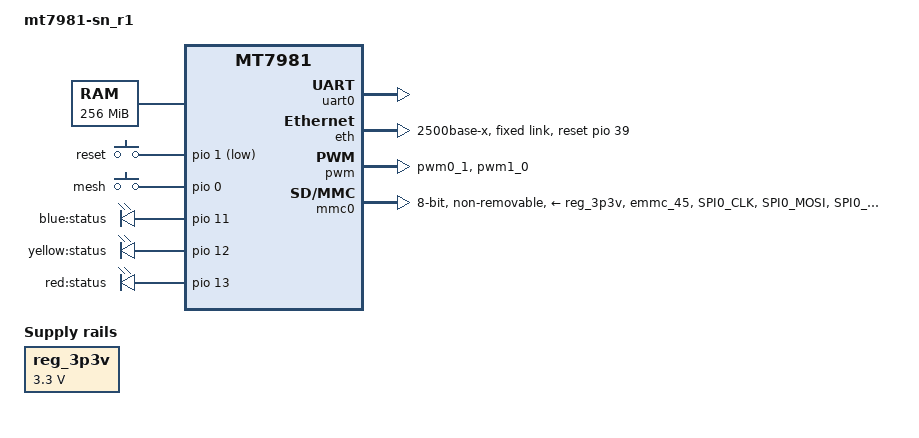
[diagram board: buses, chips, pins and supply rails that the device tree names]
// SPDX-License-Identifier: GPL-2.0

/dts-v1/;
#include "mt7981.dtsi"
#include <dt-bindings/gpio/gpio.h>
#include <dt-bindings/input/linux-event-codes.h>

/ {
	#address-cells = <1>;
	#size-cells = <1>;
	model = "mt7981-sn_r1";
	compatible = "mediatek,mt7981", "mediatek,mt7981-rfb";
	chosen {
		stdout-path = &uart0;
		tick-timer = &timer0;
	};

	config {
		bootcmd = "mtkboardboot";
		blink_led = "yellow:status";
		system_led = "blue:status";
	};

	memory@40000000 {
		device_type = "memory";
		reg = <0x40000000 0x10000000>;
	};

	gpio-keys {
		compatible = "gpio-keys";

		reset-button {
			label = "reset";
			linux,code = <KEY_RESTART>;
			gpios = <&pio 1 GPIO_ACTIVE_LOW>;
		};

		mesh-button {
			label = "mesh";
			linux,code = <BTN_9>;
			gpios = <&pio 0 GPIO_ACTIVE_HIGH>;
		};
	};

	gpio-leds {
		compatible = "gpio-leds";

		led-0 {
			label = "blue:status";
			gpios = <&pio 11 GPIO_ACTIVE_HIGH>;
		};

		led-1 {
			label = "yellow:status";
			gpios = <&pio 12 GPIO_ACTIVE_HIGH>;
		};

		led-2 {
			label = "red:status";
			gpios = <&pio 13 GPIO_ACTIVE_HIGH>;
		};
	};

	reg_3p3v: regulator-3p3v {
		  compatible = "regulator-fixed";
		  regulator-name = "fixed-3.3V";
		  regulator-min-microvolt = <3300000>;
		  regulator-max-microvolt = <3300000>;
		  regulator-boot-on;
		  regulator-always-on;
	};

	bl2_verify {
		bl2_compatible = "emmc";
	};
};

&uart0 {
	status = "okay";
};

&uart1 {
	pinctrl-names = "default";
	pinctrl-0 = <&uart1_pins>;
	status = "disabled";
};

&eth {
	status = "okay";
	mediatek,gmac-id = <0>;
	phy-mode = "2500base-x";
	mediatek,switch = "auto";
	reset-gpios = <&pio 39 GPIO_ACTIVE_HIGH>;

	fixed-link {
		speed = <2500>;
		full-duplex;
	};
};

&pio {
	uart1_pins: spi1-pins-func-3 {
		mux {
			function = "uart";
			groups = "uart1_2";
		};
	};

	/* pin15 as pwm0 */
	one_pwm_pins: one-pwm-pins {
		mux {
			function = "pwm";
			groups = "pwm0_1";
		};
	};

	/* pin15 as pwm0 and pin14 as pwm1 */
	two_pwm_pins: two-pwm-pins {
		mux {
			function = "pwm";
			groups = "pwm0_1", "pwm1_0";
		};
	};

	/* pin15 as pwm0, pin14 as pwm1, pin7 as pwm2 */
	three_pwm_pins: three-pwm-pins {
		mux {
			function = "pwm";
			groups = "pwm0_1", "pwm1_0", "pwm2";
		};
	};

	/* pin13 as pwm0, pin15 as pwm1, pin7 as pwm2 */
	three_pwm_pins_1: three-pwm-pins {
		mux {
			function = "pwm";
			groups = "pwm0_0", "pwm1_1", "pwm2";
		};
	};

	mmc0_pins_default: mmc0default {
		mux {
			function = "flash";
			groups =  "emmc_45";
		};
		conf-cmd-dat {
			pins = "SPI0_CLK", "SPI0_MOSI", "SPI0_MISO",
				"SPI0_CS",  "SPI0_HOLD", "SPI0_WP",
				"SPI1_CLK", "SPI1_MOSI", "SPI1_MISO";
			input-enable;
			drive-strength = <MTK_DRIVE_4mA>;
			bias-pull-up = <MTK_PUPD_SET_R1R0_01>;
		};
		conf-clk {
			pins = "SPI1_CS";
			drive-strength = <MTK_DRIVE_6mA>;
			bias-pull-down = <MTK_PUPD_SET_R1R0_10>;
		};
		conf-rst {
			pins = "PWM0";
			drive-strength = <MTK_DRIVE_4mA>;
			bias-pull-up = <MTK_PUPD_SET_R1R0_01>;
		};
	};
};

&pwm {
	pinctrl-names = "default";
	pinctrl-0 = <&two_pwm_pins>;
	status = "okay";
};

&watchdog {
	status = "disabled";
};

&mmc0 {
	pinctrl-names = "default";
	pinctrl-0 = <&mmc0_pins_default>;
	bus-width = <8>;
	max-frequency = <52000000>;
	cap-mmc-highspeed;
	cap-mmc-hw-reset;
	vmmc-supply = <&reg_3p3v>;
	non-removable;
	status = "okay";
};
